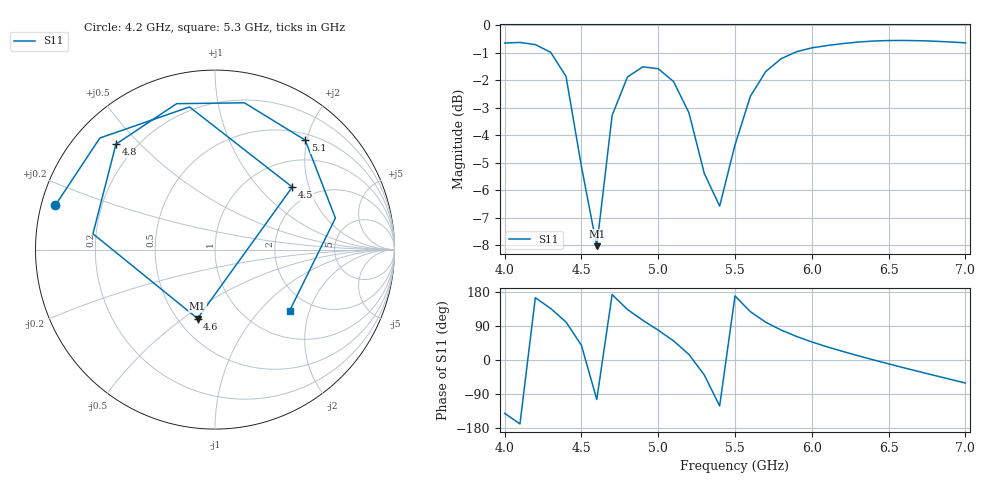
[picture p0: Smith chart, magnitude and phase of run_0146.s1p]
! Touchstone file exported from HFSS 2024.2.0
!  File:  C:/Users/wsak9/Desktop/Sim Fast/Widenad Patch/WP_AI_V1_sweep.aedt
!  Generated:  09:01:27 PM Oct 13, 2026
!  Design:  A1_model
!  Project:  WP_AI_V1_sweep
!  Setup:  Setup1
!  Solution:  Sweep
! Variables:
!  Air_gap = 1.93mm
!  Curve_Amp1 = 3.91
!  Curve_len1 = 1
!  Curve_pos = 12.665mm
!  Extra = 2.1mm
!  H_sub = 0.79mm
!  L_Patch = 21.33mm
!  L_Patch1 = 13.85mm
!  Sx = 4.99mm
!  Sy = 0.72mm
!  WS = 1.33mm
!  W_Patch = 11.75mm
!  W_Patch1 = 11.75mm
!Data is not renormalized
# GHz S MA
! Terminal data exported
! Port[1] = 1
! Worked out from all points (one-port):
!   31 points, 4 GHz to 7 GHz, reference per port
!   lowest |S11| = -8.0 dB at 4.6 GHz (marker M1), VSWR 2.31
!   |S11| at or under -10 dB: nowhere
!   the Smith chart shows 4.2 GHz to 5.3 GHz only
!   S11 on the Smith chart (normalised r, x): 4.2 GHz: 0.04, +0.14; 4.5 GHz: 1.56, +1.56; 4.6 GHz: 0.62, -0.57; 4.8 GHz: 0.13, +0.43; 5.1 GHz: 0.61, +1.97; 5.3 GHz: 1.55, -1.49
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4  0.9289 -140.7
4.1  0.9312 -168.7
4.2  0.9228 164.4
4.3  0.8935 135.9
4.4  0.8073 100.1
4.5  0.5539 39.0
4.6  0.3961 -104.2
4.7  0.6856 172.6
4.8  0.8059 133.2
4.9  0.8406 104.7
5  0.8341 78.7
5.1  0.7903 50.5
5.2  0.6934 14.7
5.3  0.5376 -39.4
5.4  0.4686 -121.4
5.5  0.6057 169.1
5.6  0.7428 127.4
5.7  0.8241 99.8
5.8  0.8697 79.1
5.9  0.8956 62.2
6  0.9103 47.7
6.1  0.9192 34.7
6.2  0.9267 22.8
6.3  0.9328 11.4
6.5  0.9387 -10.2
6.7  0.9381 -30.8
6.9  0.9331 -50.8
7  0.9295 -60.8
